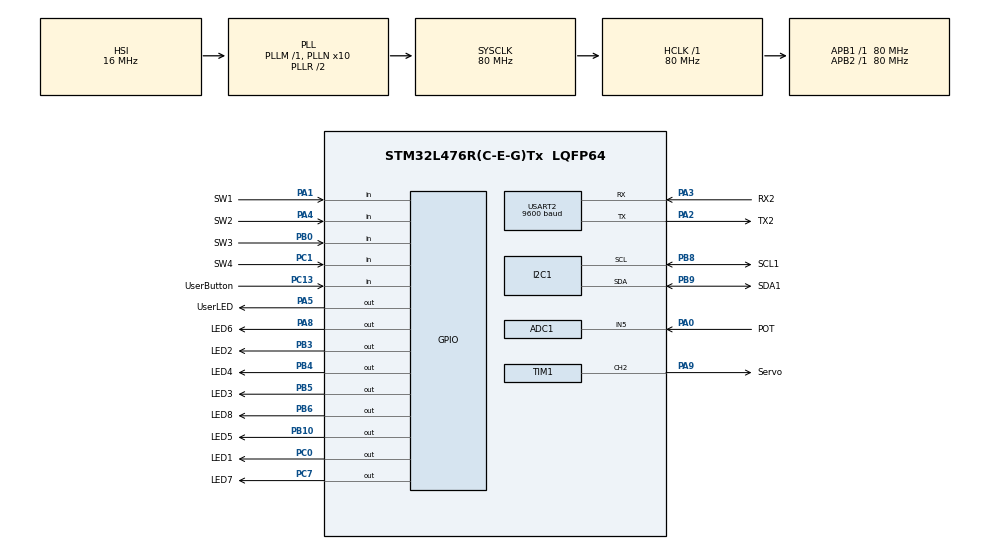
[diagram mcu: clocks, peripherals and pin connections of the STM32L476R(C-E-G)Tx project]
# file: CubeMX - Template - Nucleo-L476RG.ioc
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ADC1.Channel-0\#ChannelRegularConversion=ADC_CHANNEL_5
ADC1.NbrOfConversionFlag=1
ADC1.OffsetNumber-0\#ChannelRegularConversion=ADC_OFFSET_NONE
ADC1.Overrun=ADC_OVR_DATA_OVERWRITTEN
ADC1.Rank-0\#ChannelRegularConversion=1
ADC1.Resolution=ADC_RESOLUTION_12B
ADC1.SamplingTime-0\#ChannelRegularConversion=ADC_SAMPLETIME_2CYCLES_5
ADC1.master=1
Dma.I2C1_RX.0.Direction=DMA_PERIPH_TO_MEMORY
Dma.I2C1_RX.0.Instance=DMA1_Channel7
Dma.I2C1_RX.0.MemDataAlignment=DMA_MDATAALIGN_BYTE
Dma.I2C1_RX.0.MemInc=DMA_MINC_ENABLE
Dma.I2C1_RX.0.Mode=DMA_NORMAL
Dma.I2C1_RX.0.PeriphDataAlignment=DMA_PDATAALIGN_BYTE
Dma.I2C1_RX.0.PeriphInc=DMA_PINC_DISABLE
Dma.I2C1_RX.0.Priority=DMA_PRIORITY_MEDIUM
Dma.Request0=I2C1_RX
I2C1.Analog_Filter=I2C_ANALOGFILTER_ENABLE
I2C1.CustomTiming=Disabled
I2C1.Timing=0x00303D5B
Mcu.Family=STM32L4
Mcu.Name=STM32L476R(C-E-G)Tx
Mcu.Package=LQFP64
NVIC.DMA1_Channel7_IRQn=true\:0\:0\:false\:false\:true\:false\:true\:true
NVIC.I2C1_EV_IRQn=true\:0\:0\:false\:false\:true\:true\:true\:true
NVIC.PriorityGroup=NVIC_PRIORITYGROUP_4
PA0.GPIO_Label=POT
PA0.Signal=ADCx_IN5
PA1.GPIO_Label=SW1
PA1.Signal=GPIO_Input
PA13\ (JTMS-SWDIO).GPIO_Label=TMS
PA13\ (JTMS-SWDIO).Mode=Serial_Wire
PA13\ (JTMS-SWDIO).Signal=SYS_JTMS-SWDIO
PA14\ (JTCK-SWCLK).GPIO_Label=TCK
PA14\ (JTCK-SWCLK).Mode=Serial_Wire
PA14\ (JTCK-SWCLK).Signal=SYS_JTCK-SWCLK
PA2.GPIO_Label=TX2
PA2.GPIO_Mode=GPIO_MODE_AF_PP
PA2.GPIO_PuPd=GPIO_NOPULL
PA2.GPIO_Speed=GPIO_SPEED_FREQ_VERY_HIGH
PA2.Mode=Asynchronous
PA2.Signal=USART2_TX
PA3.GPIO_Label=RX2
PA3.GPIO_Mode=GPIO_MODE_AF_PP
PA3.GPIO_PuPd=GPIO_NOPULL
PA3.GPIO_Speed=GPIO_SPEED_FREQ_VERY_HIGH
PA3.Mode=Asynchronous
PA3.Signal=USART2_RX
PA4.GPIO_Label=SW2
PA4.Signal=GPIO_Input
PA5.GPIO_Label=UserLED
PA5.GPIO_ModeDefaultOutputPP=GPIO_MODE_OUTPUT_PP
PA5.GPIO_PuPd=GPIO_NOPULL
PA5.GPIO_Speed=GPIO_SPEED_FREQ_LOW
PA5.Signal=GPIO_Output
PA8.GPIO_Label=LED6
PA8.Signal=GPIO_Output
PA9.GPIO_Label=Servo
PA9.Signal=S_TIM1_CH2
PB0.GPIO_Label=SW3
PB0.Signal=GPIO_Input
PB10.GPIO_Label=LED5
PB10.Signal=GPIO_Output
PB3\ (JTDO-TRACESWO).GPIO_Label=LED2
PB3\ (JTDO-TRACESWO).Signal=GPIO_Output
PB4\ (NJTRST).GPIO_Label=LED4
PB4\ (NJTRST).Signal=GPIO_Output
PB5.GPIO_Label=LED3
PB5.Signal=GPIO_Output
PB6.GPIO_Label=LED8
PB6.Signal=GPIO_Output
PB8.GPIO_Label=SCL1
PB8.Mode=I2C
PB8.Signal=I2C1_SCL
PB9.GPIO_Label=SDA1
PB9.Mode=I2C
PB9.Signal=I2C1_SDA
PC0.GPIO_Label=LED1
PC0.Signal=GPIO_Output
PC1.GPIO_Label=SW4
PC1.Signal=GPIO_Input
PC13.GPIO_Label=UserButton
PC13.Signal=GPIO_Input
PC7.GPIO_Label=LED7
PC7.Signal=GPIO_Output
ProjectManager.HeapSize=0x200
ProjectManager.StackSize=0x400
ProjectManager.TargetToolchain=MDK-ARM V5.32
RCC.ADCFreq_Value=64000000
RCC.AHBFreq_Value=80000000
RCC.APB1Freq_Value=80000000
RCC.APB1TimFreq_Value=80000000
RCC.APB2Freq_Value=80000000
RCC.APB2TimFreq_Value=80000000
RCC.CortexFreq_Value=80000000
RCC.HCLKFreq_Value=80000000
RCC.HSE_VALUE=8000000
RCC.HSI_VALUE=16000000
RCC.I2C1CLockSelection=RCC_I2C1CLKSOURCE_HSI
RCC.LSE_VALUE=32768
RCC.MSI_VALUE=4000000
RCC.PLLN=10
RCC.PLLSourceVirtual=RCC_PLLSOURCE_HSI
RCC.PREFETCH_ENABLE=1
RCC.SYSCLKFreq_VALUE=80000000
RCC.SYSCLKSource=RCC_SYSCLKSOURCE_PLLCLK
RCC.USBFreq_Value=64000000
RCC.VCOOutputFreq_Value=160000000
SH.ADCx_IN5.0=ADC1_IN5,IN5-Single-Ended
SH.S_TIM1_CH2.0=TIM1_CH2,PWM Generation2 CH2
TIM1.Channel-PWM\ Generation2\ CH2=TIM_CHANNEL_2
TIM1.Period=20000
TIM1.Prescaler=79
USART2.BaudRate=9600
USART2.OverrunDisableParam=ADVFEATURE_OVERRUN_DISABLE
USART2.VirtualMode-Asynchronous=VM_ASYNC
board=NUCLEO-L476RG

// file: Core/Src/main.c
/* USER CODE BEGIN Header */
/**
  ******************************************************************************
  * @file           : main.c
  * @brief          : Main program body
  ******************************************************************************
  * @attention
  *
  * Copyright (c) 2023 STMicroelectronics.
  * All rights reserved.
  *
  * This software is licensed under terms that can be found in the LICENSE file
  * in the root directory of this software component.
  * If no LICENSE file comes with this software, it is provided AS-IS.
  *
  ******************************************************************************
  */
	// Versie: 20252026
/* USER CODE END Header */
#include "main.h"

/* USER CODE BEGIN Includes */
#include "leds.h"
#include "buttons.h"
#include "usart2.h"
#include "ad.h"
#include "stdio.h"
#include "mpu9250.h"
/* USER CODE END Includes */

/* USER CODE BEGIN PD */
#define PWM_MINIMUM 1000
#define PWM_MIDPOINT 500
#define PWM_MAXIMUM 2000
#define NUMBER_OF_CALIBRATION_SAMPLES 250
#define ANGLE_TO_PWM_SCALE 10
/* USER CODE END PD */

ADC_HandleTypeDef hadc1;

I2C_HandleTypeDef hi2c1;
DMA_HandleTypeDef hdma_i2c1_rx;

TIM_HandleTypeDef htim1;

UART_HandleTypeDef huart2;

/* USER CODE BEGIN PV */
static uint8_t count = 0;
static volatile uint8_t whoAmI = 0;
static Mpu9250 sensordata;
volatile uint8_t i2cData[NUMBER_OF_BYTES_TO_RECEIVE];
bool calibrationOk = false;
static uint16_t pwmValue = 0, gyroYOffset = 0;
static int16_t servoTrim = 0;
static float angle = 0.0;
/* USER CODE END PV */

void SystemClock_Config(void);
static void MX_GPIO_Init(void);
static void MX_DMA_Init(void);
static void MX_ADC1_Init(void);
static void MX_USART2_UART_Init(void);
static void MX_I2C1_Init(void);
static void MX_TIM1_Init(void);
/* USER CODE BEGIN PFP */
void Calibrate(void);
/* USER CODE END PFP */

int main(void)
{

  /* MCU Configuration--------------------------------------------------------*/

  /* Reset of all peripherals, Initializes the Flash interface and the Systick. */
  HAL_Init();

  /* Configure the system clock */
  SystemClock_Config();

  /* Initialize all configured peripherals */
  MX_GPIO_Init();
  MX_DMA_Init();
  MX_ADC1_Init();
  MX_USART2_UART_Init();
  MX_I2C1_Init();
  MX_TIM1_Init();
  /* USER CODE BEGIN 2 */
	// IMU initialiseren.
	InitMpu9250(&hi2c1);

	// Laten weten dat we opgestart zijn, via de USART2 (USB).
	printf("Reboot\r\n");

	// MERK OP: om met HAL I�C en DMA te kunnen werken, moet in STM32CubeMX 'I2C1 event interrupt' aangevinkt staan!
	// Anders wordt HAL_I2C_MasterRxCpltCallback() niet opgeroepen.

	// PWM-waarde klaarzetten in het CCR2-register.
	// Via een macro... (met daarin verschillende geneste 'conditional operators').
	// Macro = 'to access peripheral registers hardware'.
	__HAL_TIM_SET_COMPARE(&htim1, TIM_CHANNEL_2, PWM_MINIMUM + PWM_MIDPOINT);
	// Of rechtstreeks...
	//htim1.Instance->CCR2 = PWM_MINIMUM;

	// PWM starten.
	HAL_TIM_PWM_Start(&htim1, TIM_CHANNEL_2);

	// Even wachten tot alles stil ligt.
	HAL_Delay(250);

	//WhoAmIMpu9250(&hi2c1);
	//printf("%x\r\n", i2cData[0]);

	// Gyroscoop Y-as kalibreren.
	Calibrate();

  /* USER CODE END 2 */

  /* Infinite loop */
  /* USER CODE BEGIN WHILE */
  while (1)
  {
		// Via de trimmer een trim voorzien voor de servo.
		servoTrim = GetAdValue(&hadc1) / 16;
		servoTrim -= (4095/16)/2;

		// Bij een druk op de blauwe user button: hoek resetten.
		if(UserButtonActive())
			angle = 0.0;

		// Drukken op SW4 = herkalibreren.
		if(SW4Active())
			Calibrate();

		// Actuele data tonen.
		printf("{gyroy\":%d,\"angle\":%f,\"pwmValue\":%d}\r\n", sensordata.gyroY - gyroYOffset, angle, pwmValue);

		// Even wachten.
		HAL_Delay(100);

    /* USER CODE END WHILE */

  }
}

void SystemClock_Config(void)
{
  RCC_OscInitTypeDef RCC_OscInitStruct = {0};
  RCC_ClkInitTypeDef RCC_ClkInitStruct = {0};

  /** Configure the main internal regulator output voltage
  */
  if (HAL_PWREx_ControlVoltageScaling(PWR_REGULATOR_VOLTAGE_SCALE1) != HAL_OK)
  {
    Error_Handler();
  }

  /** Initializes the RCC Oscillators according to the specified parameters
  * in the RCC_OscInitTypeDef structure.
  */
  RCC_OscInitStruct.OscillatorType = RCC_OSCILLATORTYPE_HSI;
  RCC_OscInitStruct.HSIState = RCC_HSI_ON;
  RCC_OscInitStruct.HSICalibrationValue = RCC_HSICALIBRATION_DEFAULT;
  RCC_OscInitStruct.PLL.PLLState = RCC_PLL_ON;
  RCC_OscInitStruct.PLL.PLLSource = RCC_PLLSOURCE_HSI;
  RCC_OscInitStruct.PLL.PLLM = 1;
  RCC_OscInitStruct.PLL.PLLN = 10;
  RCC_OscInitStruct.PLL.PLLP = RCC_PLLP_DIV7;
  RCC_OscInitStruct.PLL.PLLQ = RCC_PLLQ_DIV2;
  RCC_OscInitStruct.PLL.PLLR = RCC_PLLR_DIV2;
  if (HAL_RCC_OscConfig(&RCC_OscInitStruct) != HAL_OK)
  {
    Error_Handler();
  }

  /** Initializes the CPU, AHB and APB buses clocks
  */
  RCC_ClkInitStruct.ClockType = RCC_CLOCKTYPE_HCLK|RCC_CLOCKTYPE_SYSCLK
                              |RCC_CLOCKTYPE_PCLK1|RCC_CLOCKTYPE_PCLK2;
  RCC_ClkInitStruct.SYSCLKSource = RCC_SYSCLKSOURCE_PLLCLK;
  RCC_ClkInitStruct.AHBCLKDivider = RCC_SYSCLK_DIV1;
  RCC_ClkInitStruct.APB1CLKDivider = RCC_HCLK_DIV1;
  RCC_ClkInitStruct.APB2CLKDivider = RCC_HCLK_DIV1;

  if (HAL_RCC_ClockConfig(&RCC_ClkInitStruct, FLASH_LATENCY_4) != HAL_OK)
  {
    Error_Handler();
  }
}

static void MX_ADC1_Init(void)
{

  ADC_MultiModeTypeDef multimode = {0};
  ADC_ChannelConfTypeDef sConfig = {0};

  /** Common config
  */
  hadc1.Instance = ADC1;
  hadc1.Init.ClockPrescaler = ADC_CLOCK_ASYNC_DIV1;
  hadc1.Init.Resolution = ADC_RESOLUTION_12B;
  hadc1.Init.DataAlign = ADC_DATAALIGN_RIGHT;
  hadc1.Init.ScanConvMode = ADC_SCAN_DISABLE;
  hadc1.Init.EOCSelection = ADC_EOC_SINGLE_CONV;
  hadc1.Init.LowPowerAutoWait = DISABLE;
  hadc1.Init.ContinuousConvMode = DISABLE;
  hadc1.Init.NbrOfConversion = 1;
  hadc1.Init.DiscontinuousConvMode = DISABLE;
  hadc1.Init.ExternalTrigConv = ADC_SOFTWARE_START;
  hadc1.Init.ExternalTrigConvEdge = ADC_EXTERNALTRIGCONVEDGE_NONE;
  hadc1.Init.DMAContinuousRequests = DISABLE;
  hadc1.Init.Overrun = ADC_OVR_DATA_OVERWRITTEN;
  hadc1.Init.OversamplingMode = DISABLE;
  if (HAL_ADC_Init(&hadc1) != HAL_OK)
  {
    Error_Handler();
  }

  /** Configure the ADC multi-mode
  */
  multimode.Mode = ADC_MODE_INDEPENDENT;
  if (HAL_ADCEx_MultiModeConfigChannel(&hadc1, &multimode) != HAL_OK)
  {
    Error_Handler();
  }

  /** Configure Regular Channel
  */
  sConfig.Channel = ADC_CHANNEL_5;
  sConfig.Rank = ADC_REGULAR_RANK_1;
  sConfig.SamplingTime = ADC_SAMPLETIME_2CYCLES_5;
  sConfig.SingleDiff = ADC_SINGLE_ENDED;
  sConfig.OffsetNumber = ADC_OFFSET_NONE;
  sConfig.Offset = 0;
  if (HAL_ADC_ConfigChannel(&hadc1, &sConfig) != HAL_OK)
  {
    Error_Handler();
  }

}

static void MX_I2C1_Init(void)
{

  hi2c1.Instance = I2C1;
  hi2c1.Init.Timing = 0x00303D5B;
  hi2c1.Init.OwnAddress1 = 0;
  hi2c1.Init.AddressingMode = I2C_ADDRESSINGMODE_7BIT;
  hi2c1.Init.DualAddressMode = I2C_DUALADDRESS_DISABLE;
  hi2c1.Init.OwnAddress2 = 0;
  hi2c1.Init.OwnAddress2Masks = I2C_OA2_NOMASK;
  hi2c1.Init.GeneralCallMode = I2C_GENERALCALL_DISABLE;
  hi2c1.Init.NoStretchMode = I2C_NOSTRETCH_DISABLE;
  if (HAL_I2C_Init(&hi2c1) != HAL_OK)
  {
    Error_Handler();
  }

  /** Configure Analogue filter
  */
  if (HAL_I2CEx_ConfigAnalogFilter(&hi2c1, I2C_ANALOGFILTER_ENABLE) != HAL_OK)
  {
    Error_Handler();
  }

  /** Configure Digital filter
  */
  if (HAL_I2CEx_ConfigDigitalFilter(&hi2c1, 0) != HAL_OK)
  {
    Error_Handler();
  }

}

static void MX_TIM1_Init(void)
{

  TIM_MasterConfigTypeDef sMasterConfig = {0};
  TIM_OC_InitTypeDef sConfigOC = {0};
  TIM_BreakDeadTimeConfigTypeDef sBreakDeadTimeConfig = {0};

  htim1.Instance = TIM1;
  htim1.Init.Prescaler = 79;
  htim1.Init.CounterMode = TIM_COUNTERMODE_UP;
  htim1.Init.Period = 20000;
  htim1.Init.ClockDivision = TIM_CLOCKDIVISION_DIV1;
  htim1.Init.RepetitionCounter = 0;
  htim1.Init.AutoReloadPreload = TIM_AUTORELOAD_PRELOAD_DISABLE;
  if (HAL_TIM_PWM_Init(&htim1) != HAL_OK)
  {
    Error_Handler();
  }
  sMasterConfig.MasterOutputTrigger = TIM_TRGO_RESET;
  sMasterConfig.MasterOutputTrigger2 = TIM_TRGO2_RESET;
  sMasterConfig.MasterSlaveMode = TIM_MASTERSLAVEMODE_DISABLE;
  if (HAL_TIMEx_MasterConfigSynchronization(&htim1, &sMasterConfig) != HAL_OK)
  {
    Error_Handler();
  }
  sConfigOC.OCMode = TIM_OCMODE_PWM1;
  sConfigOC.Pulse = 0;
  sConfigOC.OCPolarity = TIM_OCPOLARITY_HIGH;
  sConfigOC.OCNPolarity = TIM_OCNPOLARITY_HIGH;
  sConfigOC.OCFastMode = TIM_OCFAST_DISABLE;
  sConfigOC.OCIdleState = TIM_OCIDLESTATE_RESET;
  sConfigOC.OCNIdleState = TIM_OCNIDLESTATE_RESET;
  if (HAL_TIM_PWM_ConfigChannel(&htim1, &sConfigOC, TIM_CHANNEL_2) != HAL_OK)
  {
    Error_Handler();
  }
  sBreakDeadTimeConfig.OffStateRunMode = TIM_OSSR_DISABLE;
  sBreakDeadTimeConfig.OffStateIDLEMode = TIM_OSSI_DISABLE;
  sBreakDeadTimeConfig.LockLevel = TIM_LOCKLEVEL_OFF;
  sBreakDeadTimeConfig.DeadTime = 0;
  sBreakDeadTimeConfig.BreakState = TIM_BREAK_DISABLE;
  sBreakDeadTimeConfig.BreakPolarity = TIM_BREAKPOLARITY_HIGH;
  sBreakDeadTimeConfig.BreakFilter = 0;
  sBreakDeadTimeConfig.Break2State = TIM_BREAK2_DISABLE;
  sBreakDeadTimeConfig.Break2Polarity = TIM_BREAK2POLARITY_HIGH;
  sBreakDeadTimeConfig.Break2Filter = 0;
  sBreakDeadTimeConfig.AutomaticOutput = TIM_AUTOMATICOUTPUT_DISABLE;
  if (HAL_TIMEx_ConfigBreakDeadTime(&htim1, &sBreakDeadTimeConfig) != HAL_OK)
  {
    Error_Handler();
  }
  HAL_TIM_MspPostInit(&htim1);

}

static void MX_USART2_UART_Init(void)
{

  huart2.Instance = USART2;
  huart2.Init.BaudRate = 9600;
  huart2.Init.WordLength = UART_WORDLENGTH_8B;
  huart2.Init.StopBits = UART_STOPBITS_1;
  huart2.Init.Parity = UART_PARITY_NONE;
  huart2.Init.Mode = UART_MODE_TX_RX;
  huart2.Init.HwFlowCtl = UART_HWCONTROL_NONE;
  huart2.Init.OverSampling = UART_OVERSAMPLING_16;
  huart2.Init.OneBitSampling = UART_ONE_BIT_SAMPLE_DISABLE;
  huart2.AdvancedInit.AdvFeatureInit = UART_ADVFEATURE_RXOVERRUNDISABLE_INIT;
  huart2.AdvancedInit.OverrunDisable = UART_ADVFEATURE_OVERRUN_DISABLE;
  if (HAL_UART_Init(&huart2) != HAL_OK)
  {
    Error_Handler();
  }

}

static void MX_DMA_Init(void)
{

  /* DMA controller clock enable */
  __HAL_RCC_DMA1_CLK_ENABLE();

  /* DMA interrupt init */
  /* DMA1_Channel7_IRQn interrupt configuration */
  HAL_NVIC_SetPriority(DMA1_Channel7_IRQn, 0, 0);
  HAL_NVIC_EnableIRQ(DMA1_Channel7_IRQn);

}

static void MX_GPIO_Init(void)
{
  GPIO_InitTypeDef GPIO_InitStruct = {0};

  /* GPIO Ports Clock Enable */
  __HAL_RCC_GPIOC_CLK_ENABLE();
  __HAL_RCC_GPIOA_CLK_ENABLE();
  __HAL_RCC_GPIOB_CLK_ENABLE();

  /*Configure GPIO pin Output Level */
  HAL_GPIO_WritePin(GPIOC, LED1_Pin|LED7_Pin, GPIO_PIN_RESET);

  /*Configure GPIO pin Output Level */
  HAL_GPIO_WritePin(GPIOA, UserLED_Pin|LED6_Pin, GPIO_PIN_RESET);

  /*Configure GPIO pin Output Level */
  HAL_GPIO_WritePin(GPIOB, LED5_Pin|LED2_Pin|LED4_Pin|LED3_Pin
                          |LED8_Pin, GPIO_PIN_RESET);

  /*Configure GPIO pins : UserButton_Pin SW4_Pin */
  GPIO_InitStruct.Pin = UserButton_Pin|SW4_Pin;
  GPIO_InitStruct.Mode = GPIO_MODE_INPUT;
  GPIO_InitStruct.Pull = GPIO_NOPULL;
  HAL_GPIO_Init(GPIOC, &GPIO_InitStruct);

  /*Configure GPIO pins : LED1_Pin LED7_Pin */
  GPIO_InitStruct.Pin = LED1_Pin|LED7_Pin;
  GPIO_InitStruct.Mode = GPIO_MODE_OUTPUT_PP;
  GPIO_InitStruct.Pull = GPIO_NOPULL;
  GPIO_InitStruct.Speed = GPIO_SPEED_FREQ_LOW;
  HAL_GPIO_Init(GPIOC, &GPIO_InitStruct);

  /*Configure GPIO pins : SW1_Pin SW2_Pin */
  GPIO_InitStruct.Pin = SW1_Pin|SW2_Pin;
  GPIO_InitStruct.Mode = GPIO_MODE_INPUT;
  GPIO_InitStruct.Pull = GPIO_NOPULL;
  HAL_GPIO_Init(GPIOA, &GPIO_InitStruct);

  /*Configure GPIO pins : UserLED_Pin LED6_Pin */
  GPIO_InitStruct.Pin = UserLED_Pin|LED6_Pin;
  GPIO_InitStruct.Mode = GPIO_MODE_OUTPUT_PP;
  GPIO_InitStruct.Pull = GPIO_NOPULL;
  GPIO_InitStruct.Speed = GPIO_SPEED_FREQ_LOW;
  HAL_GPIO_Init(GPIOA, &GPIO_InitStruct);

  /*Configure GPIO pin : SW3_Pin */
  GPIO_InitStruct.Pin = SW3_Pin;
  GPIO_InitStruct.Mode = GPIO_MODE_INPUT;
  GPIO_InitStruct.Pull = GPIO_NOPULL;
  HAL_GPIO_Init(SW3_GPIO_Port, &GPIO_InitStruct);

  /*Configure GPIO pins : LED5_Pin LED2_Pin LED4_Pin LED3_Pin
                           LED8_Pin */
  GPIO_InitStruct.Pin = LED5_Pin|LED2_Pin|LED4_Pin|LED3_Pin
                          |LED8_Pin;
  GPIO_InitStruct.Mode = GPIO_MODE_OUTPUT_PP;
  GPIO_InitStruct.Pull = GPIO_NOPULL;
  GPIO_InitStruct.Speed = GPIO_SPEED_FREQ_LOW;
  HAL_GPIO_Init(GPIOB, &GPIO_InitStruct);

}

/* USER CODE BEGIN 4 */
// Sensor info kalibreren.
void Calibrate(void)
{
	printf("Start calibration.\r\n");

	// Zorgen dat de SysTick geen metingen meer start.
	calibrationOk = false;

	// Even wachten tot alles stil ligt.
	HAL_Delay(1000);

	// Gyroscoop Y-as kalibreren.

	for(count = 0; count < NUMBER_OF_CALIBRATION_SAMPLES; count++)
	{
		// IMU uitlezen starten (via DMA).
		ReadMpu9250(&hi2c1);

		// Even wachten. Uitlezen van de I�C-bus duurt ongeveer 1,5ms (2 + 14 bytes).
		HAL_Delay(SENSOR_READ_INTERVAL);

		// Offset cummuleren.
		gyroYOffset += sensordata.gyroY;
	}
	angle = 0.0f;
	gyroYOffset /= NUMBER_OF_CALIBRATION_SAMPLES;
	calibrationOk = true;

	printf("End calibration.\r\n");
}

// Verwerken van de sensor data nadat de DMA een signaal (interrupt) geeft.
// MERK OP: om met HAL I�C en DMA te kunnen werken, moet in STM32CubeMX 'I2C1 event interrupt' aangevinkt staan!
// Anders wordt HAL_I2C_MasterRxCpltCallback() niet opgeroepen.
// Het starten van de meting gebeurt in de SysTick_Handler() iedere 4ms.
void HAL_I2C_MasterRxCpltCallback(I2C_HandleTypeDef *hi2c)
{
	// Is de ontvangst van I2C1?
	if(hi2c->Instance == I2C1)
	{
		// Teken van leven geven...
		ToggleLed(8);

		// Gyro Y-data verwerken.
		sensordata.gyroY = (int16_t)(i2cData[10] * 256 + i2cData[11]);

		// Nieuwe hoek berekenen: hoek = draaisnelheid * draaitijd.
		// TODO: nog beter zou zijn dat er met SENSOR FUSION gewerkt wordt (gyroscoop + accelerometer + eventueel magnetometer).
		// Op die manier kan je de 'drift' uit het signaal filteren.
		angle = angle - ((float)(sensordata.gyroY - gyroYOffset)/16.375f) * (float)SENSOR_READ_INTERVAL/1000.0f;
		// of
		//angle = angle - ((float)(sensordata.gyroY - gyroYOffset)/5458.3f);

		// PWM-waarde voor de servo berekenen, herschalen en begrenzen.
		pwmValue = PWM_MINIMUM + PWM_MIDPOINT + angle * ANGLE_TO_PWM_SCALE - servoTrim;
		if(pwmValue < PWM_MINIMUM)
			pwmValue = PWM_MINIMUM;
		if(pwmValue > PWM_MAXIMUM)
			pwmValue = PWM_MAXIMUM;

		// PWM-waarde opslaan in het CCR2-register (als het kalibreren voorbij is).
		if(calibrationOk)
			__HAL_TIM_SET_COMPARE(&htim1, TIM_CHANNEL_2, pwmValue);
	}
}
/* USER CODE END 4 */

void Error_Handler(void)
{
  __disable_irq();
  while (1)
  {
  }
}
#ifdef USE_FULL_ASSERT
/**
  * @brief  Reports the name of the source file and the source line number
  *         where the assert_param error has occurred.
  * @param  file: pointer to the source file name
  * @param  line: assert_param error line source number
  * @retval None
  */
void assert_failed(uint8_t *file, uint32_t line)
{
  /* USER CODE BEGIN 6 */
  /* User can add his own implementation to report the file name and line number,
     ex: printf("Wrong parameters value: file %s on line %d\r\n", file, line) */
// Versie: 20252026
  /* USER CODE END 6 */
}
#endif /* USE_FULL_ASSERT */
